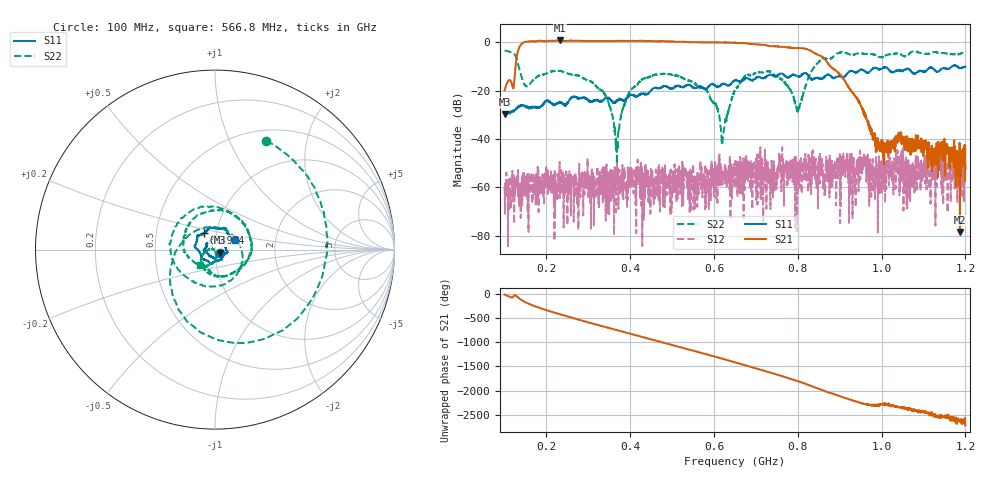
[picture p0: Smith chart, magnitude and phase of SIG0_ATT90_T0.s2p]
# Hz S DB R 50
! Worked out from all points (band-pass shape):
!   1601 points, 100 MHz to 1.2 GHz, reference 50 ohm
!   highest |S21| = 0.70 dB at 231.3 MHz (marker M1); lowest = -78.4 dB at 1.187 GHz (marker M2)
!   |S21| within 3 dB of the highest: 134.7 MHz to 779.9 MHz (645.2 MHz wide, 141 % of centre); 780.0295 MHz to 781.0716 MHz (1.042 MHz wide, 0.134 % of centre) (the widest 2 of 4)
!   lowest |S11| = -29.9 dB at 100.7 MHz (marker M3), VSWR 1.07, Z = 52.8 - j1.75 ohm
!   |S11| at or under -10 dB: start of sweep to 1.169 GHz; 1.18 GHz to end of sweep
!   |S22| runs from -50.4 to -3.5 dB; largest |S21 - S12| = 1.1
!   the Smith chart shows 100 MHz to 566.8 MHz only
!   S11 on the Smith chart (normalised r, x): 100 MHz: 1.06, -0.03; 497.4 MHz: 0.87, +0.16; 566.8 MHz: 1.24, +0.14
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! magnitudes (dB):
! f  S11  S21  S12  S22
! 100 MHz  -29.6  -19.9  -59.8  -3.5
! 100.7 MHz  -29.9  -19.5  -70.9  -3.5
! 119.9 MHz  -28.3  -19.1  -60.9  -4.5
! 142.6 MHz  -26.1  -0.4  -55.4  -15.4
! 231.3 MHz  -24.9  0.7  -49.5  -12.0
! 283.6 MHz  -23.3  0.5  -53.5  -14.3
! 339.9 MHz  -23.2  0.4  -58.6  -21.6
! 368.1 MHz  -23.9  0.5  -50.2  -50.4
! 399.1 MHz  -21.9  0.5  -58.6  -20.3
! 467.1 MHz  -19.2  0.4  -51.7  -13.4
! 497.4 MHz  -19.0  0.2  -56.5  -13.4
! 566.8 MHz  -18.1  -0.1  -53.9  -18.4
! 605.3 MHz  -18.4  -0.1  -64.7  -26.3
! 620.4 MHz  -17.1  -0.1  -57.1  -40.6
! 650 MHz  -15.8  -0.3  -54.8  -19.8
! 731.1 MHz  -13.6  -1.6  -55.7  -11.9
! 800.6 MHz  -14.3  -2.5  -58.9  -28.3
! 833.6 MHz  -15.5  -3.8  -45.3  -11.7
! 1.017 GHz  -11.4  -45.3  -57.6  -5.0
! 1.045 GHz  -12.0  -38.1  -51.2  -5.1
! 1.187 GHz  -10.7  -78.4  -54.1  -4.8
! 1.2 GHz  -10.1  -52.4  -50.9  -3.7
